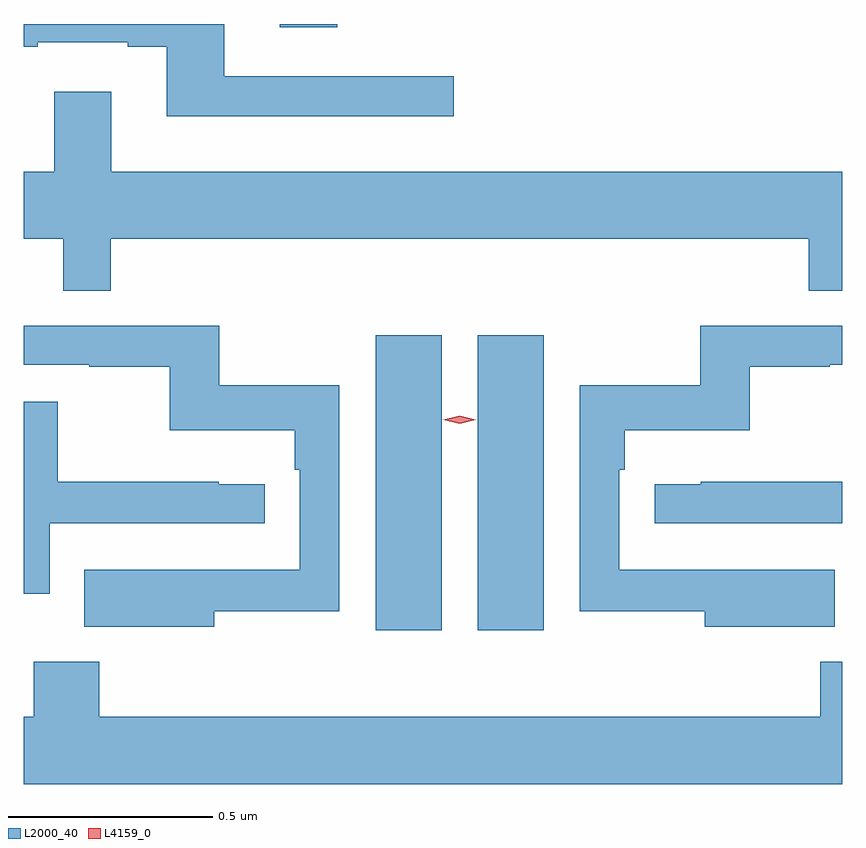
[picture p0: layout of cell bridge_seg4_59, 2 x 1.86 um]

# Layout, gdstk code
import gdstk
lib = gdstk.Library(unit=1e-6, precision=1e-09)
def R(c, l, rs):  # rectangles x0, y0, x1, y1
    for r in rs: c.add(gdstk.rectangle(r[:2], r[2:], *l))
def P(c, l, *ps):  # polygons
    for p in ps: c.add(gdstk.Polygon(p, *l))
L2000_40 = (2000, 40)
L4159_0 = (4159, 0)

bridge_seg4_59 = lib.new_cell('bridge_seg4_59')
R(bridge_seg4_59, L2000_40, [(855.749,814.512,855.91,815.233), (855.998,814.512,856.159,815.233), (855.515,815.985,855.655,815.993)])
P(bridge_seg4_59, L2000_40, [(855.94,815.865),(855.379,815.865),(855.379,815.993),(854.889,815.993),(854.889,815.937),(854.923,815.937),(854.923,815.949),(855.143,815.949),(855.143,815.937),(855.239,815.937),(855.239,815.768),(855.94,815.768)],
  [(855.101,815.468),(856.807,815.468),(856.807,815.341),(856.889,815.341),(856.889,815.632),(855.103,815.632),(855.103,815.827),(854.963,815.827),(854.963,815.632),(854.889,815.632),(854.889,815.468),(854.985,815.468),(854.985,815.341),(855.101,815.341)],
  [(856.871,814.66),(856.657,814.66),(856.657,814.659),(856.344,814.659),(856.344,814.904),(856.358,814.904),(856.358,815),(856.663,815),(856.663,815.155),(856.859,815.155),(856.859,815.16),(856.889,815.16),(856.889,815.256),(856.542,815.256),(856.542,815.11),(856.248,815.11),(856.248,814.558),(856.553,814.558),(856.553,814.52),(856.871,814.52)],
  [(855.355,814.558),(855.66,814.558),(855.66,815.11),(855.367,815.11),(855.367,815.256),(854.889,815.256),(854.889,815.16),(855.049,815.16),(855.049,815.155),(855.246,815.155),(855.246,815),(855.551,815),(855.551,814.904),(855.564,814.904),(855.564,814.659),(855.251,814.659),(855.251,814.66),(855.037,814.66),(855.037,814.52),(855.355,814.52)],
  [(854.952,814.773),(855.478,814.773),(855.478,814.869),(855.365,814.869),(855.365,814.874),(854.972,814.874),(854.972,815.07),(854.889,815.07),(854.889,814.601),(854.952,814.601)],
  [(856.889,814.874),(856.543,814.874),(856.543,814.869),(856.431,814.869),(856.431,814.773),(856.889,814.773)],
  [(856.889,814.435),(856.835,814.435),(856.835,814.3),(855.074,814.3),(855.074,814.435),(854.914,814.435),(854.914,814.3),(854.889,814.3),(854.889,814.136),(856.889,814.136)])
P(bridge_seg4_59, L4159_0, [(855.954,815.016),(855.914,815.026),(855.914,815.026),(855.914,815.026),(855.954,815.036),(855.994,815.026),(855.994,815.026),(855.994,815.026)])

lib.write_gds('bridge_seg4_59.gds')
